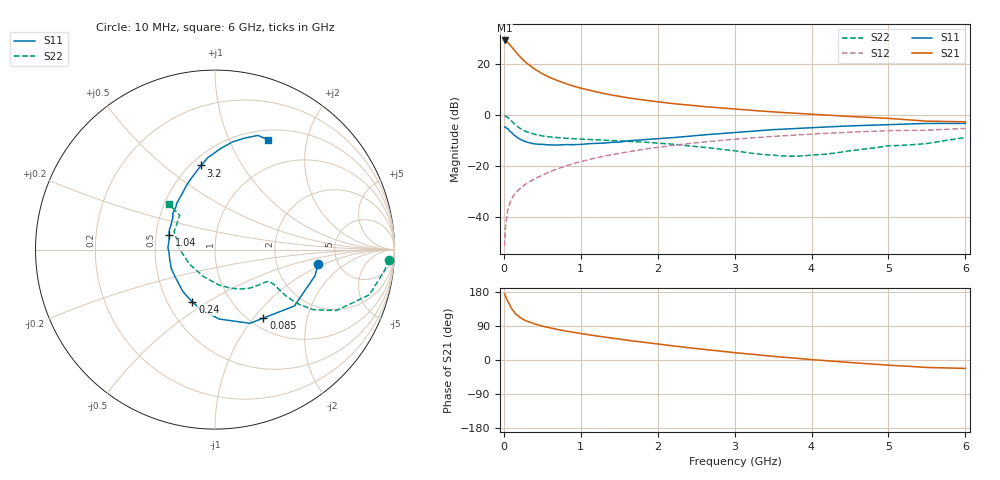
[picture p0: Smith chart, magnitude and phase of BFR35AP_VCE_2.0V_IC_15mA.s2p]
! Infineon Technologies  Discrete & RF Semiconductors
! BFR35AP
! VCE =  2.0 V,  IC =  15 mA
! Common Emitter S-Parameters:  Nov 2015
# GHz  S  MA  R  50
!  f  S11  S21  S12  S22
! GHz  MAG  ANG  MAG  ANG  MAG  ANG  MAG  ANG
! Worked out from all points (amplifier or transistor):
!   210 points, 10 MHz to 6 GHz, reference 50 ohm
!   highest |S21| = 29.1 dB at 10 MHz (marker M1)
!   |S21| within 3 dB of that: start of sweep to 115 MHz
!   unconditionally stable (mu >= 1): 422.6 MHz to 3.791 GHz
!   at 185 MHz: K = 0.69, MSG = 26.6 dB, |S12| = -29.5 dB
!   at 1.52 GHz: K = 1.13, MAG = 8.9 dB, |S12| = -14.9 dB
!   at 6 GHz: K = 0.98, MSG = 1.3 dB, |S12| = -5.3 dB
!   S11 on the Smith chart (normalised r, x): 10 MHz: 3.56, -0.84; 85 MHz: 1.15, -1.12; 240 MHz: 0.67, -0.43; 1.04 GHz: 0.59, +0.10; 3.2 GHz: 0.56, +0.68; 6 GHz: 0.62, +1.41
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0.01  0.5811 -7.7  28.54 174.5  0.0027 87.9  0.9685 -3.3
0.02  0.5753 -14.9  28.2 169.0  0.0059 85.2  0.9528 -6.9
0.05  0.5424 -35.4  26.44 154.6  0.0132 76.8  0.8963 -16.3
0.085  0.4671 -54.8  22.76 142.2  0.0199 69.2  0.7952 -23.2
0.1  0.4546 -64.6  21.59 135.7  0.0228 67.3  0.7561 -26.7
0.15  0.3877 -86.5  17.33 122.3  0.0297 63.3  0.64 -31.5
0.2  0.342 -103.8  14.19 113.6  0.035 63.6  0.5575 -33.1
0.24  0.317 -113.4  12.31 108.7  0.0392 63.3  0.5122 -33.3
0.3  0.2949 -127.2  10.16 102.3  0.0459 64.3  0.4636 -33.0
0.4  0.2707 -144.2  7.865 95.2  0.056 65.9  0.4147 -31.7
0.5  0.2651 -157.0  6.364 89.3  0.0658 66.6  0.3859 -30.7
0.7  0.2564 -175.0  4.66 80.4  0.0882 67.1  0.3586 -30.5
0.8  0.2623 177.8  4.093 76.6  0.0994 66.8  0.3491 -30.8
1.02  0.2659 163.5  3.271 69.3  0.124 65.8  0.3347 -32.7
1.04  0.2676 162.5  3.217 68.7  0.1262 65.6  0.3336 -33.0
1.4  0.2909 145.3  2.444 57.9  0.1659 62.4  0.3157 -38.3
2.02  0.3442 126.0  1.785 41.7  0.2334 55.5  0.2783 -51.0
3.1  0.4628 101.0  1.266 17.6  0.3429 41.3  0.1881 -88.5
3.2  0.475 99.3  1.233 15.7  0.3517 39.8  0.179 -93.9
4.1  0.5725 85.5  1.008 -0.4  0.4285 27.7  0.1664 -157.4
5.1  0.6512 73.7  0.832 -14.8  0.4923 13.7  0.2509 152.0
6  0.6795 64.1  0.732 -22.2  0.5424 3.6  0.3589 135.4
